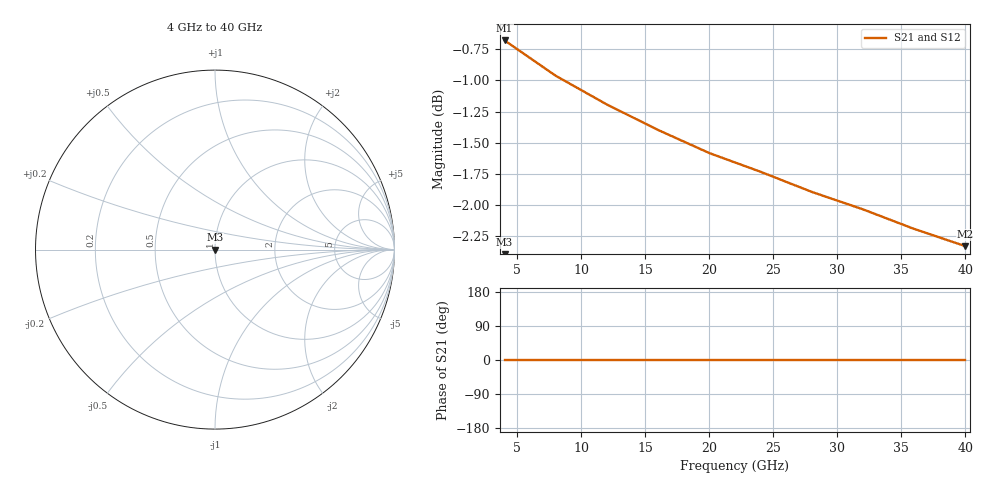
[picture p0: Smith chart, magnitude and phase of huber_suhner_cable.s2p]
!freq, magS11, angS11, magS12, angS12, magS21, angS21, magS22, angS22
# hz S ma R 50
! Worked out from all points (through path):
!   10 points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, 4 GHz to 40 GHz, reference 50 ohm
!   highest |S21| = -0.68 dB at 4 GHz (marker M1); lowest = -2.3 dB at 40 GHz (marker M2)
!   lowest |S11| = - dB at 4 GHz (marker M3), VSWR 1.00, Z = 50 + j0 ohm
!   |S11| at or under -10 dB: start of sweep to end of sweep
!   |S22| runs from - to - dB; largest |S21 - S12| = 0
4e9  0 0.0  0.9249 0.0  0.9249 0.0  0 0.0
8e9  0 0.0  0.8951 0.0  0.8951 0.0  0 0.0
1.2e10  0 0.0  0.8716 0.0  0.8716 0.0  0 0.0
1.6e10  0 0.0  0.8513 0.0  0.8513 0.0  0 0.0
2e10  0 0.0  0.8333 0.0  0.8333 0.0  0 0.0
2.4e10  0 0.0  0.819 0.0  0.819 0.0  0 0.0
2.8e10  0 0.0  0.8039 0.0  0.8039 0.0  0 0.0
3.2e10  0 0.0  0.791 0.0  0.791 0.0  0 0.0
3.6e10  0 0.0  0.7768 0.0  0.7768 0.0  0 0.0
4e10  0 0.0  0.7645 0.0  0.7645 0.0  0 0.0
